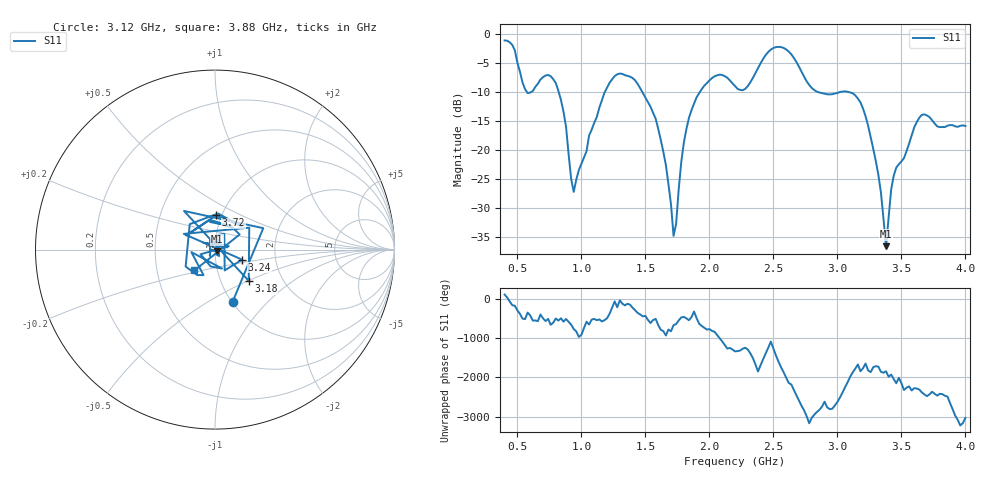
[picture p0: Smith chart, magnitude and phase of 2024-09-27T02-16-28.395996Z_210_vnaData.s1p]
!Created with skrf (http://scikit-rf.org).
# Hz S RI R 50.0
!freq ReS11 ImS11
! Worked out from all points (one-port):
!   181 points, 400 MHz to 4 GHz, reference 50 ohm
!   lowest |S11| = -36.7 dB at 3.38 GHz (marker M1), VSWR 1.03, Z = 51.1 - j1.04 ohm
!   |S11| at or under -10 dB: 822 MHz to 1.184 GHz (361.8 MHz wide, 36.1 % of centre); 1.474 GHz to 1.927 GHz (452.5 MHz wide, 26.6 % of centre); 3.078 GHz to end of sweep (the widest 3 of 5)
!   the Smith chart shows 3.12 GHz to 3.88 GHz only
!   S11 on the Smith chart (normalised r, x): 3.12 GHz: 1.01, -0.65; 3.18 GHz: 1.35, -0.50; 3.24 GHz: 1.35, -0.15; 3.72 GHz: 0.94, +0.37; 3.88 GHz: 0.78, -0.18
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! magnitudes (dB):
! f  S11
! 400 MHz  -1.1
! 580 MHz  -10.2
! 760 MHz  -7.3
! 860 MHz  -13.4
! 940 MHz  -27.3
! 1.18 GHz  -10.2
! 1.3 GHz  -6.9
! 1.58 GHz  -14.6
! 1.66 GHz  -22.6
! 1.72 GHz  -34.9
! 1.76 GHz  -26.9
! 1.82 GHz  -16.5
! 1.9 GHz  -11.0
! 2.2 GHz  -9.0
! 2.5 GHz  -2.4
! 2.66 GHz  -4.2
! 2.84 GHz  -10.0
! 3.1 GHz  -10.1
! 3.12 GHz  -10.3
! 3.18 GHz  -11.8
! 3.24 GHz  -15.9
! 3.32 GHz  -24.3
! 3.38 GHz  -36.7
! 3.44 GHz  -24.5
! 3.56 GHz  -19.0
! 3.72 GHz  -14.4
! 3.88 GHz  -15.8
! 4 GHz  -15.9
